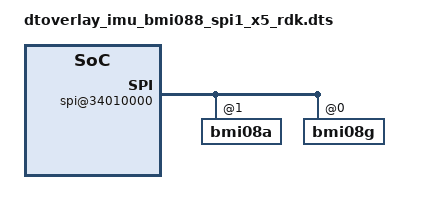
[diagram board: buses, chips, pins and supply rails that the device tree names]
/dts-v1/;
/plugin/;

/ {
  fragment@0 {
    target-path = "/soc/a55_apb0/i2c@341c0000/";
    __overlay__ {

      status = "disabled";

    };
  };

  fragment@1 {
    target-path = "/soc/a55_apb0/spi@34010000";
    __overlay__ {

      status = "okay";

      spidev@0
      {
        status = "disabled";
      };
      spidev@1
      {
        status = "disabled";
      };
      bmi08a@1{
        status = "okay";
      };
      bmi08g@0{
        status = "okay";
      };

    };
  };

};

